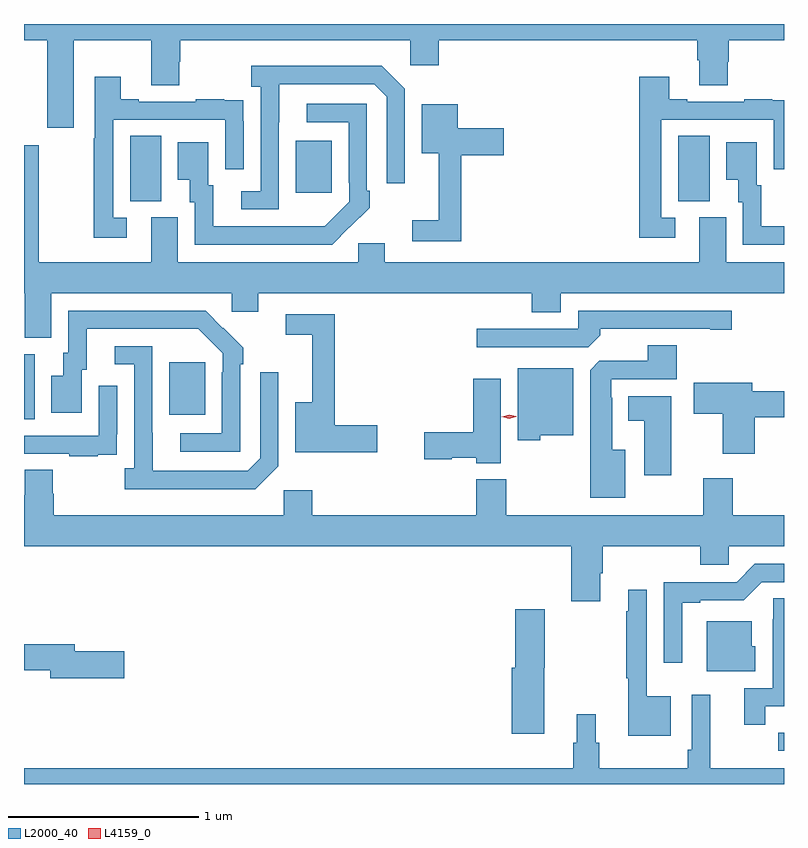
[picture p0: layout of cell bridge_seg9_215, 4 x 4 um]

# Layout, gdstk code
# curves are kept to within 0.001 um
import gdstk
lib = gdstk.Library(unit=1e-6, precision=1e-09)
def R(c, l, rs):  # rectangles x0, y0, x1, y1
    for r in rs: c.add(gdstk.rectangle(r[:2], r[2:], *l))
def P(c, l, *ps):  # polygons
    for p in ps: c.add(gdstk.Polygon(p, *l))
L2000_40 = (2000, 40)
L4159_0 = (4159, 0)

bridge_seg9_215 = lib.new_cell('bridge_seg9_215')
R(bridge_seg9_215, L2000_40, [(194.484,1206,194.514,1206.096), (190.514,1207.744,190.57,1208.088), (191.279,1207.769,191.467,1208.044), (191.072,1208.893,191.236,1209.236), (193.958,1208.893,194.122,1209.236), (191.945,1208.937,192.133,1209.211)])
P(bridge_seg9_215, L2000_40, [(190.777,1209.74),(191.183,1209.74),(191.183,1209.502),(191.331,1209.502),(191.331,1209.627),(191.336,1209.627),(191.336,1209.74),(192.546,1209.74),(192.546,1209.609),(192.698,1209.609),(192.698,1209.74),(194.057,1209.74),(194.057,1209.634),(194.069,1209.634),(194.069,1209.502),(194.217,1209.502),(194.217,1209.627),(194.222,1209.627),(194.222,1209.74),(194.514,1209.74),(194.514,1209.825),(190.514,1209.825),(190.514,1209.74),(190.637,1209.74),(190.637,1209.279),(190.777,1209.279)],
  [(191.856,1209.307),(191.857,1209.507),(192.357,1209.507),(192.423,1209.441),(192.423,1208.988),(192.519,1208.988),(192.519,1209.483),(192.398,1209.604),(191.709,1209.604),(191.709,1209.494),(191.76,1209.494),(191.76,1208.946),(191.658,1208.946),(191.658,1208.85),(191.856,1208.85)],
  [(193.942,1208.805),(193.869,1208.805),(193.869,1209.321),(194.46,1209.321),(194.46,1209.06),(194.514,1209.06),(194.514,1209.423),(194.453,1209.423),(194.453,1209.43),(194.305,1209.43),(194.305,1209.417),(194.005,1209.417),(194.005,1209.43),(193.909,1209.43),(193.909,1209.547),(193.753,1209.547),(193.753,1208.7),(193.942,1208.7)],
  [(191.056,1208.805),(190.983,1208.805),(190.983,1209.321),(191.574,1209.321),(191.574,1209.06),(191.67,1209.06),(191.67,1209.314),(191.669,1209.314),(191.669,1209.423),(191.567,1209.423),(191.567,1209.43),(191.419,1209.43),(191.419,1209.417),(191.119,1209.417),(191.119,1209.43),(191.023,1209.43),(191.023,1209.547),(190.887,1209.547),(190.887,1209.224),(190.882,1209.224),(190.882,1208.7),(191.056,1208.7)],
  [(192.227,1208.755),(192.228,1208.754),(192.333,1208.859),(192.333,1208.947),(192.318,1208.947),(192.318,1209.405),(192.003,1209.405),(192.003,1209.309),(192.222,1209.309),(192.222,1208.989),(192.225,1208.989),(192.225,1208.889),(192.097,1208.761),(191.509,1208.76),(191.509,1208.976),(191.485,1208.976),(191.485,1209.202),(191.324,1209.202),(191.324,1209.005),(191.387,1209.005),(191.387,1208.886),(191.412,1208.886),(191.412,1208.664),(192.136,1208.664)],
  [(192.815,1209.134),(193.039,1209.134),(193.039,1209.276),(192.796,1209.276),(192.796,1209.403),(192.608,1209.403),(192.608,1209.146),(192.698,1209.146),(192.698,1208.791),(192.558,1208.791),(192.558,1208.682),(192.815,1208.682)],
  [(194.514,1208.76),(194.395,1208.76),(194.395,1208.976),(194.371,1208.976),(194.371,1209.202),(194.21,1209.202),(194.21,1209.005),(194.273,1209.005),(194.273,1208.886),(194.298,1208.886),(194.298,1208.664),(194.514,1208.664)],
  [(190.657,1208.408),(191.607,1208.408),(191.607,1208.31),(191.746,1208.31),(191.746,1208.408),(193.187,1208.408),(193.187,1208.309),(193.339,1208.309),(193.339,1208.408),(194.514,1208.408),(194.514,1208.572),(194.209,1208.572),(194.209,1208.808),(194.069,1208.808),(194.069,1208.572),(192.412,1208.572),(192.412,1208.67),(192.273,1208.67),(192.273,1208.572),(191.323,1208.572),(191.323,1208.808),(191.183,1208.808),(191.183,1208.572),(190.591,1208.572),(190.591,1209.187),(190.514,1209.187),(190.514,1208.408),(190.517,1208.408),(190.517,1208.173),(190.657,1208.173)],
  [(193.547,1208.186),(193.547,1208.22),(194.126,1208.22),(194.126,1208.215),(194.239,1208.215),(194.239,1208.316),(193.431,1208.316),(193.431,1208.22),(192.897,1208.22),(192.897,1208.124),(193.485,1208.124)],
  [(191.652,1208.033),(191.667,1208.033),(191.667,1208.121),(191.47,1208.316),(190.746,1208.316),(190.746,1208.094),(190.721,1208.094),(190.721,1207.975),(190.658,1207.975),(190.658,1207.779),(190.819,1207.779),(190.819,1208.004),(190.843,1208.004),(190.843,1208.22),(191.431,1208.22),(191.559,1208.091),(191.559,1207.991),(191.556,1207.991),(191.556,1207.671),(191.337,1207.671),(191.337,1207.575),(191.652,1207.575)],
  [(192.373,1207.712),(192.149,1207.712),(192.149,1208.298),(191.892,1208.298),(191.892,1208.19),(192.032,1208.19),(192.032,1207.834),(191.942,1207.834),(191.942,1207.57),(192.373,1207.57)],
  [(193.678,1207.585),(193.609,1207.585),(193.609,1207.859),(193.605,1207.859),(193.605,1207.956),(193.949,1207.956),(193.949,1208.135),(193.796,1208.135),(193.796,1208.052),(193.542,1208.052),(193.493,1208.003),(193.493,1207.331),(193.678,1207.331)],
  [(191.853,1207.497),(191.853,1207.993),(191.757,1207.993),(191.757,1207.539),(191.691,1207.473),(191.191,1207.473),(191.19,1208.13),(190.992,1208.13),(190.992,1208.034),(191.094,1208.034),(191.094,1207.486),(191.043,1207.486),(191.043,1207.376),(191.732,1207.376)],
  [(193.23,1207.661),(193.405,1207.661),(193.405,1208.014),(193.112,1208.014),(193.112,1207.634),(193.23,1207.634)],
  [(193.024,1207.957),(192.878,1207.957),(192.878,1207.676),(192.621,1207.676),(192.621,1207.534),(192.764,1207.534),(192.764,1207.541),(192.894,1207.541),(192.894,1207.514),(193.024,1207.514)],
  [(194.36,1207.756),(194.514,1207.756),(194.514,1207.892),(194.347,1207.892),(194.347,1207.936),(194.04,1207.936),(194.04,1207.774),(194.192,1207.774),(194.192,1207.563),(194.36,1207.563)],
  [(190.901,1207.557),(191.003,1207.557),(191.003,1207.666),(191.004,1207.666),(191.004,1207.921),(190.908,1207.921),(190.908,1207.659),(190.514,1207.659),(190.514,1207.563),(190.753,1207.563),(190.753,1207.551),(190.901,1207.551)],
  [(193.921,1207.867),(193.694,1207.867),(193.694,1207.736),(193.778,1207.736),(193.778,1207.449),(193.921,1207.449)],
  [(193.546,1206.934),(193.559,1206.934),(193.559,1207.076),(194.072,1207.076),(194.072,1206.978),(194.223,1206.978),(194.223,1207.076),(194.514,1207.076),(194.514,1207.24),(194.243,1207.24),(194.243,1207.435),(194.09,1207.435),(194.09,1207.24),(193.053,1207.24),(193.053,1207.429),(192.893,1207.429),(192.893,1207.24),(192.032,1207.24),(192.032,1207.372),(191.88,1207.372),(191.88,1207.24),(190.67,1207.24),(190.67,1207.353),(190.665,1207.353),(190.665,1207.478),(190.517,1207.478),(190.517,1207.346),(190.514,1207.346),(190.514,1207.076),(193.394,1207.076),(193.394,1206.786),(193.546,1206.786)],
  [(193.978,1206.78),(194.074,1206.78),(194.074,1206.792),(194.301,1206.792),(194.397,1206.888),(194.514,1206.888),(194.514,1206.984),(194.361,1206.984),(194.265,1206.888),(193.881,1206.888),(193.881,1206.462),(193.978,1206.462)],
  [(193.918,1206.286),(193.791,1206.286),(193.791,1206.847),(193.694,1206.847),(193.694,1206.734),(193.683,1206.734),(193.683,1206.382),(193.694,1206.382),(193.694,1206.08),(193.918,1206.08)],
  [(194.414,1206.234),(194.514,1206.234),(194.514,1206.803),(194.457,1206.803),(194.457,1206.692),(194.456,1206.692),(194.456,1206.33),(194.306,1206.33),(194.306,1206.138),(194.414,1206.138)],
  [(193.252,1206.438),(193.254,1206.438),(193.254,1206.745),(193.1,1206.745),(193.1,1206.438),(193.082,1206.438),(193.082,1206.09),(193.252,1206.09)],
  [(194.362,1206.549),(194.344,1206.549),(194.344,1206.682),(194.108,1206.682),(194.108,1206.419),(194.362,1206.419)],
  [(191.041,1206.524),(190.78,1206.524),(190.78,1206.56),(190.514,1206.56),(190.514,1206.424),(190.652,1206.424),(190.652,1206.382),(191.041,1206.382)],
  [(193.405,1205.908),(190.514,1205.908),(190.514,1205.825),(194.514,1205.825),(194.514,1205.908),(194.126,1205.908),(194.126,1206.295),(194.028,1206.295),(194.028,1206.004),(194.008,1206.004),(194.008,1205.908),(193.541,1205.908),(193.541,1206.042),(193.522,1206.042),(193.522,1206.193),(193.424,1206.193),(193.424,1206.042),(193.405,1206.042)])
P(bridge_seg9_215, L4159_0, [(193.068,1207.748),(193.029,1207.757),(193.029,1207.757),(193.029,1207.757),(193.067,1207.768),(193.106,1207.76),(193.106,1207.759),(193.106,1207.759)])

lib.write_gds('bridge_seg9_215.gds')
